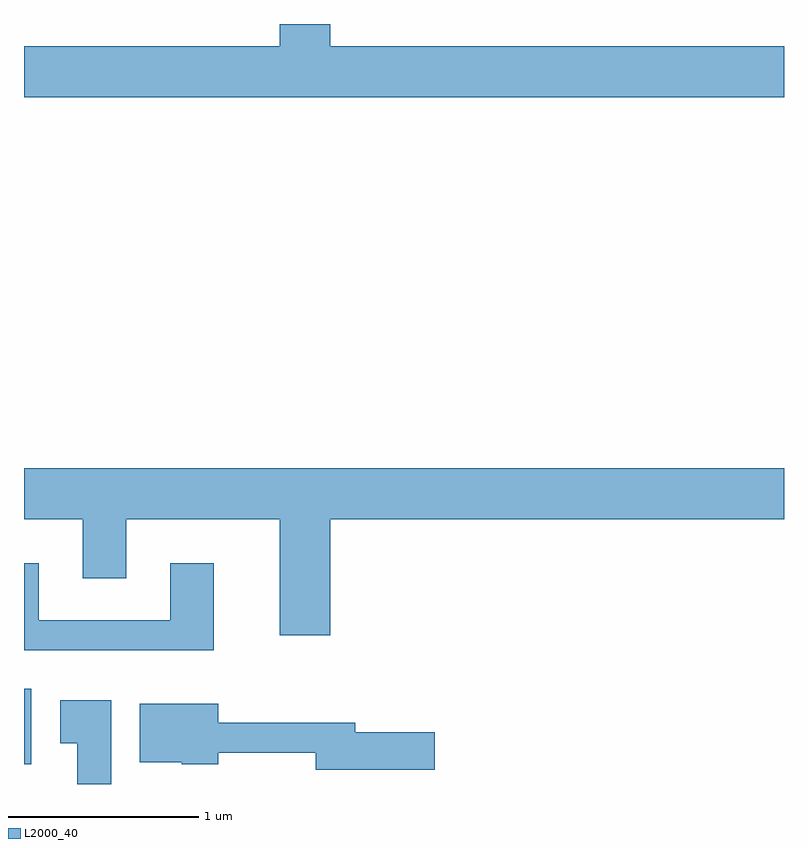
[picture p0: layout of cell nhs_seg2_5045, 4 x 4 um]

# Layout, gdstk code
import gdstk
lib = gdstk.Library(unit=1e-6, precision=1e-09)
def R(c, l, rs):  # rectangles x0, y0, x1, y1
    for r in rs: c.add(gdstk.rectangle(r[:2], r[2:], *l))
def P(c, l, *ps):  # polygons
    for p in ps: c.add(gdstk.Polygon(p, *l))
L2000_40 = (2000, 40)

nhs_seg2_5045 = lib.new_cell('nhs_seg2_5045')
R(nhs_seg2_5045, L2000_40, [(333.611,1055.906,333.649,1056.304)])
P(nhs_seg2_5045, L2000_40, [(337.611,1059.684),(335.224,1059.684),(335.224,1059.802),(334.956,1059.802),(334.956,1059.684),(333.611,1059.684),(333.611,1059.416),(337.611,1059.416)],
  [(335.224,1057.196),(337.611,1057.196),(337.611,1057.464),(333.611,1057.464),(333.611,1057.196),(333.921,1057.196),(333.921,1056.886),(334.149,1056.886),(334.149,1057.196),(334.956,1057.196),(334.956,1056.586),(335.224,1056.586)],
  [(334.609,1056.964),(334.381,1056.964),(334.381,1056.664),(333.689,1056.664),(333.689,1056.964),(333.611,1056.964),(333.611,1056.506),(334.609,1056.506)],
  [(334.069,1056.244),(333.801,1056.244),(333.801,1056.016),(333.891,1056.016),(333.891,1055.802),(334.069,1055.802)],
  [(335.774,1056.074),(335.354,1056.074),(335.354,1056.124),(334.634,1056.124),(334.634,1056.224),(334.221,1056.224),(334.221,1055.916),(334.44,1055.916),(334.44,1055.906),(334.634,1055.906),(334.634,1055.966),(335.146,1055.966),(335.146,1055.876),(335.774,1055.876)])

lib.write_gds('nhs_seg2_5045.gds')
